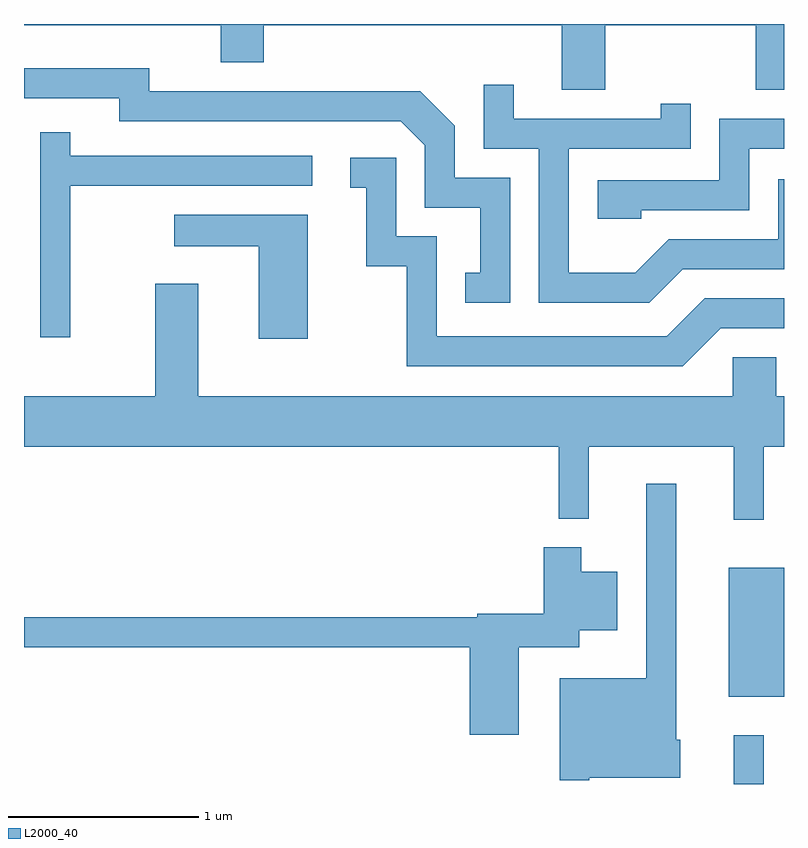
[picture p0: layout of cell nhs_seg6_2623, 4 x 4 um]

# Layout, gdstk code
import gdstk
lib = gdstk.Library(unit=1e-6, precision=1e-09)
def R(c, l, rs):  # rectangles x0, y0, x1, y1
    for r in rs: c.add(gdstk.rectangle(r[:2], r[2:], *l))
def P(c, l, *ps):  # polygons
    for p in ps: c.add(gdstk.Polygon(p, *l))
L2000_40 = (2000, 40)

nhs_seg6_2623 = lib.new_cell('nhs_seg6_2623')
R(nhs_seg6_2623, L2000_40, [(267.346,1648.162,267.504,1648.418), (267.321,1648.621,267.611,1649.299)])
P(nhs_seg6_2623, L2000_40, [(266.669,1652.156),(267.461,1652.156),(267.461,1651.816),(267.611,1651.816),(267.611,1652.162),(263.611,1652.162),(263.611,1652.156),(264.646,1652.156),(264.646,1651.961),(264.874,1651.961),(264.874,1652.156),(266.441,1652.156),(266.441,1651.816),(266.669,1651.816)],
  [(266.169,1651.354),(265.879,1651.354),(265.879,1651.627),(265.697,1651.809),(264.269,1651.809),(264.269,1651.929),(263.611,1651.929),(263.611,1651.771),(264.111,1651.771),(264.111,1651.651),(265.594,1651.651),(265.721,1651.524),(265.721,1651.196),(266.011,1651.196),(266.011,1650.854),(265.933,1650.854),(265.933,1650.696),(266.169,1650.696)],
  [(267.077,1650.871),(267.611,1650.871),(267.611,1651.344),(267.581,1651.344),(267.581,1651.029),(267.004,1651.029),(266.829,1650.854),(266.479,1650.854),(266.479,1651.506),(267.119,1651.506),(267.119,1651.743),(266.961,1651.743),(266.961,1651.664),(266.189,1651.664),(266.189,1651.843),(266.031,1651.843),(266.031,1651.506),(266.321,1651.506),(266.321,1650.696),(266.902,1650.696)],
  [(266.859,1651.181),(267.429,1651.181),(267.429,1651.506),(267.611,1651.506),(267.611,1651.664),(267.271,1651.664),(267.271,1651.339),(266.631,1651.339),(266.631,1651.136),(266.859,1651.136)],
  [(263.854,1651.311),(265.128,1651.311),(265.128,1651.469),(263.854,1651.469),(263.854,1651.593),(263.696,1651.593),(263.696,1650.513),(263.854,1650.513)],
  [(267.277,1650.561),(267.611,1650.561),(267.611,1650.719),(267.194,1650.719),(266.994,1650.519),(265.784,1650.519),(265.784,1651.044),(265.569,1651.044),(265.569,1651.459),(265.328,1651.459),(265.328,1651.301),(265.411,1651.301),(265.411,1650.886),(265.626,1650.886),(265.626,1650.361),(267.077,1650.361)],
  [(265.104,1651.159),(264.403,1651.159),(264.403,1650.991),(264.846,1650.991),(264.846,1650.506),(265.104,1650.506)],
  [(267.504,1649.936),(267.611,1649.936),(267.611,1650.204),(267.569,1650.204),(267.569,1650.409),(267.341,1650.409),(267.341,1650.204),(264.529,1650.204),(264.529,1650.794),(264.301,1650.794),(264.301,1650.204),(263.611,1650.204),(263.611,1649.936),(266.426,1649.936),(266.426,1649.558),(266.584,1649.558),(266.584,1649.936),(267.346,1649.936),(267.346,1649.553),(267.504,1649.553)],
  [(266.585,1648.196),(267.064,1648.196),(267.064,1648.394),(267.044,1648.394),(267.044,1649.743),(266.886,1649.743),(266.886,1648.719),(266.431,1648.719),(266.431,1648.181),(266.585,1648.181)],
  [(266.214,1648.881),(266.534,1648.881),(266.534,1648.971),(266.734,1648.971),(266.734,1649.279),(266.544,1649.279),(266.544,1649.409),(266.346,1649.409),(266.346,1649.059),(265.996,1649.059),(265.996,1649.039),(263.611,1649.039),(263.611,1648.881),(265.956,1648.881),(265.956,1648.421),(266.214,1648.421)])

lib.write_gds('nhs_seg6_2623.gds')
